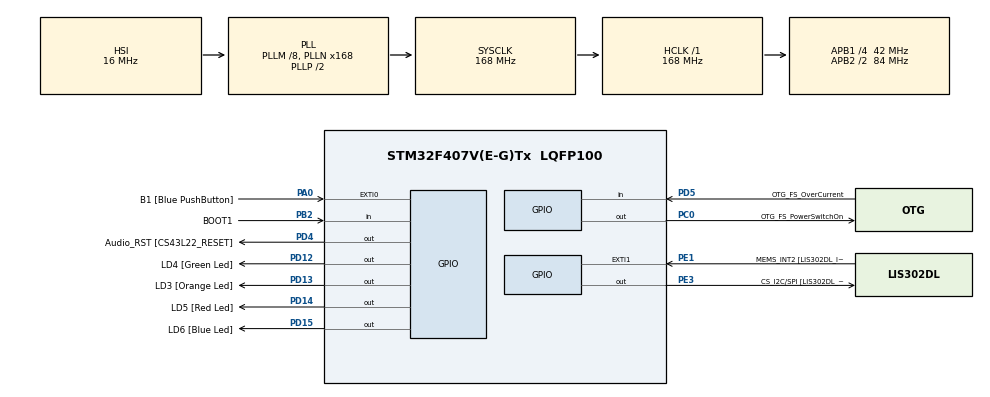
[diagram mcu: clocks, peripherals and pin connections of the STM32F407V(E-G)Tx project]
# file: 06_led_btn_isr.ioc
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Mcu.Family=STM32F4
Mcu.Name=STM32F407V(E-G)Tx
Mcu.Package=LQFP100
NVIC.EXTI0_IRQn=true\:6\:0\:true\:false\:true\:true\:true\:true
NVIC.PriorityGroup=NVIC_PRIORITYGROUP_4
NVIC.TIM6_DAC_IRQn=true\:0\:0\:false\:false\:true\:false\:true\:true
NVIC.TimeBase=TIM6_DAC_IRQn
NVIC.TimeBaseIP=TIM6
PA0-WKUP.GPIO_Label=B1 [Blue PushButton]
PA0-WKUP.GPIO_ModeDefaultEXTI=GPIO_MODE_IT_FALLING
PA0-WKUP.Signal=GPXTI0
PA10.GPIO_Label=OTG_FS_ID
PA10.GPIO_Mode=GPIO_MODE_AF_PP
PA10.GPIO_PuPd=GPIO_NOPULL
PA10.GPIO_Speed=GPIO_SPEED_FREQ_LOW
PA10.Signal=USB_OTG_FS_ID
PA11.GPIO_Label=OTG_FS_DM
PA11.GPIO_Mode=GPIO_MODE_AF_PP
PA11.GPIO_PuPd=GPIO_NOPULL
PA11.GPIO_Speed=GPIO_SPEED_FREQ_LOW
PA11.Signal=USB_OTG_FS_DM
PA12.GPIO_Label=OTG_FS_DP
PA12.GPIO_Mode=GPIO_MODE_AF_PP
PA12.GPIO_PuPd=GPIO_NOPULL
PA12.GPIO_Speed=GPIO_SPEED_FREQ_LOW
PA12.Signal=USB_OTG_FS_DP
PA13.GPIO_Label=SWDIO
PA13.Signal=SYS_JTMS-SWDIO
PA14.GPIO_Label=SWCLK
PA14.Signal=SYS_JTCK-SWCLK
PA4.GPIO_Label=I2S3_WS [CS43L22_LRCK]
PA4.GPIO_Mode=GPIO_MODE_AF_PP
PA4.GPIO_PuPd=GPIO_NOPULL
PA4.GPIO_Speed=GPIO_SPEED_FREQ_LOW
PA4.Signal=I2S3_WS
PA5.GPIO_Label=SPI1_SCK [LIS302DL_SCL/SPC]
PA5.GPIO_Mode=GPIO_MODE_AF_PP
PA5.GPIO_PuPd=GPIO_NOPULL
PA5.GPIO_Speed=GPIO_SPEED_FREQ_LOW
PA5.Signal=SPI1_SCK
PA6.GPIO_Label=SPI1_MISO [LIS302DL_SDO]
PA6.GPIO_Mode=GPIO_MODE_AF_PP
PA6.GPIO_PuPd=GPIO_NOPULL
PA6.GPIO_Speed=GPIO_SPEED_FREQ_LOW
PA6.Signal=SPI1_MISO
PA7.GPIO_Label=SPI1_MOSI [LIS302DL_SDA/SDI/SDO]
PA7.GPIO_Mode=GPIO_MODE_AF_PP
PA7.GPIO_PuPd=GPIO_NOPULL
PA7.GPIO_Speed=GPIO_SPEED_FREQ_LOW
PA7.Signal=SPI1_MOSI
PA9.GPIO_Label=VBUS_FS
PA9.GPIO_Mode=GPIO_MODE_INPUT
PA9.GPIO_PuPd=GPIO_NOPULL
PA9.Signal=USB_OTG_FS_VBUS
PB10.GPIO_Label=CLK_IN [MP45DT02_CLK]
PB10.GPIO_Mode=GPIO_MODE_AF_PP
PB10.GPIO_PuPd=GPIO_NOPULL
PB10.GPIO_Speed=GPIO_SPEED_FREQ_LOW
PB10.Signal=I2S2_CK
PB2.GPIO_Label=BOOT1
PB2.GPIO_Mode=GPIO_MODE_INPUT
PB2.GPIO_PuPd=GPIO_NOPULL
PB2.Signal=GPIO_Input
PB3.GPIO_Label=SWO
PB3.Signal=SYS_JTDO-SWO
PB6.GPIO_Label=Audio_SCL [CS43L22_SCL]
PB6.GPIO_Mode=GPIO_MODE_AF_OD
PB6.GPIO_PuPd=GPIO_NOPULL
PB6.GPIO_Speed=GPIO_SPEED_FREQ_LOW
PB6.Signal=I2C1_SCL
PB9.GPIO_Label=Audio_SDA [CS43L22_SDA]
PB9.GPIO_Mode=GPIO_MODE_AF_OD
PB9.GPIO_PuPd=GPIO_NOPULL
PB9.GPIO_Speed=GPIO_SPEED_FREQ_LOW
PB9.Signal=I2C1_SDA
PC0.GPIO_Label=OTG_FS_PowerSwitchOn
PC0.GPIO_PuPd=GPIO_NOPULL
PC0.GPIO_Speed=GPIO_SPEED_FREQ_LOW
PC0.PinState=GPIO_PIN_SET
PC0.Signal=GPIO_Output
PC10.GPIO_Label=I2S3_SCK [CS43L22_SCLK]
PC10.GPIO_Mode=GPIO_MODE_AF_PP
PC10.GPIO_PuPd=GPIO_NOPULL
PC10.GPIO_Speed=GPIO_SPEED_FREQ_LOW
PC10.Signal=I2S3_CK
PC12.GPIO_Label=I2S3_SD [CS43L22_SDIN]
PC12.GPIO_Mode=GPIO_MODE_AF_PP
PC12.GPIO_PuPd=GPIO_NOPULL
PC12.GPIO_Speed=GPIO_SPEED_FREQ_LOW
PC12.Signal=I2S3_SD
PC14-OSC32_IN.GPIO_Label=PC14-OSC32_IN
PC14-OSC32_IN.Signal=RCC_OSC32_IN
PC15-OSC32_OUT.GPIO_Label=PC15-OSC32_OUT
PC15-OSC32_OUT.Signal=RCC_OSC32_OUT
PC3.GPIO_Label=PDM_OUT [MP45DT02_DOUT]
PC3.GPIO_Mode=GPIO_MODE_AF_PP
PC3.GPIO_PuPd=GPIO_NOPULL
PC3.GPIO_Speed=GPIO_SPEED_FREQ_LOW
PC3.Signal=I2S2_SD
PC7.GPIO_Label=I2S3_MCK [CS43L22_MCLK]
PC7.GPIO_Mode=GPIO_MODE_AF_PP
PC7.GPIO_PuPd=GPIO_NOPULL
PC7.GPIO_Speed=GPIO_SPEED_FREQ_LOW
PC7.Signal=I2S3_MCK
PD12.GPIO_Label=LD4 [Green Led]
PD12.GPIO_PuPd=GPIO_NOPULL
PD12.GPIO_Speed=GPIO_SPEED_FREQ_LOW
PD12.Signal=GPIO_Output
PD13.GPIO_Label=LD3 [Orange Led]
PD13.GPIO_PuPd=GPIO_NOPULL
PD13.GPIO_Speed=GPIO_SPEED_FREQ_LOW
PD13.Signal=GPIO_Output
PD14.GPIO_Label=LD5 [Red Led]
PD14.GPIO_PuPd=GPIO_NOPULL
PD14.GPIO_Speed=GPIO_SPEED_FREQ_LOW
PD14.Signal=GPIO_Output
PD15.GPIO_Label=LD6 [Blue Led]
PD15.GPIO_PuPd=GPIO_NOPULL
PD15.GPIO_Speed=GPIO_SPEED_FREQ_LOW
PD15.Signal=GPIO_Output
PD4.GPIO_Label=Audio_RST [CS43L22_RESET]
PD4.GPIO_PuPd=GPIO_NOPULL
PD4.GPIO_Speed=GPIO_SPEED_FREQ_LOW
PD4.Signal=GPIO_Output
PD5.GPIO_Label=OTG_FS_OverCurrent
PD5.GPIO_Mode=GPIO_MODE_INPUT
PD5.GPIO_PuPd=GPIO_NOPULL
PD5.Signal=GPIO_Input
PE1.GPIO_Label=MEMS_INT2 [LIS302DL_INT2]
PE1.GPIO_ModeDefaultEXTI=GPIO_MODE_EVT_RISING
PE1.GPIO_PuPd=GPIO_NOPULL
PE1.Signal=GPXTI1
PE3.GPIO_Label=CS_I2C/SPI [LIS302DL_CS_I2C/SPI]
PE3.GPIO_PuPd=GPIO_NOPULL
PE3.GPIO_Speed=GPIO_SPEED_FREQ_LOW
PE3.Signal=GPIO_Output
PH0-OSC_IN.GPIO_Label=PH0-OSC_IN
PH0-OSC_IN.Signal=RCC_OSC_IN
PH1-OSC_OUT.GPIO_Label=PH1-OSC_OUT
PH1-OSC_OUT.Signal=RCC_OSC_OUT
ProjectManager.HeapSize=0x200
ProjectManager.StackSize=0x400
ProjectManager.TargetToolchain=STM32CubeIDE
RCC.48MHZClocksFreq_Value=48000000
RCC.AHBFreq_Value=168000000
RCC.APB1CLKDivider=RCC_HCLK_DIV4
RCC.APB1Freq_Value=42000000
RCC.APB1TimFreq_Value=84000000
RCC.APB2CLKDivider=RCC_HCLK_DIV2
RCC.APB2Freq_Value=84000000
RCC.APB2TimFreq_Value=168000000
RCC.CortexFreq_Value=168000000
RCC.HCLKFreq_Value=168000000
RCC.HSE_VALUE=8000000
RCC.HSI_VALUE=16000000
RCC.LSE_VALUE=32768
RCC.PLLM=8
RCC.PLLN=168
RCC.PLLQ=7
RCC.SYSCLKFreq_VALUE=168000000
RCC.SYSCLKSource=RCC_SYSCLKSOURCE_PLLCLK
RCC.VCOOutputFreq_Value=336000000
VP_SYS_VS_tim6.Mode=TIM6
board=STM32F407G-DISC1

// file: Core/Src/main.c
/* USER CODE BEGIN Header */
/**
  ******************************************************************************
  * @file           : main.c
  * @brief          : Main program body
  ******************************************************************************
  * @attention
  *
  * Copyright (c) 2024 STMicroelectronics.
  * All rights reserved.
  *
  * This software is licensed under terms that can be found in the LICENSE file
  * in the root directory of this software component.
  * If no LICENSE file comes with this software, it is provided AS-IS.
  *
  ******************************************************************************
  */
/* USER CODE END Header */
#include "main.h"

/* USER CODE BEGIN Includes */
#include "FreeRTOS.h"
#include "task.h"
/* USER CODE END Includes */

/* USER CODE BEGIN PD */
#define DWT_CTRL             (*(volatile uint32_t*)0xE0001000)
/* USER CODE END PD */

void SystemClock_Config(void);
static void MX_GPIO_Init(void);

/* USER CODE BEGIN PFP */

static void led_green_handler(void* parameters);
static void led_orange_handler(void* parameters);
static void led_red_handler(void* parameters);

extern void SEGGER_UART_init(uint32_t);

// needs task handles to delete a task
TaskHandle_t ledg_task_handle;
TaskHandle_t ledo_task_handle;
TaskHandle_t ledr_task_handle;
TaskHandle_t button_task_handle;

TaskHandle_t volatile next_task_handle = NULL;
/* USER CODE END PFP */

int main(void)
{
  /* USER CODE BEGIN 1 */
  BaseType_t status;
  /* USER CODE END 1 */

  /* MCU Configuration--------------------------------------------------------*/

  /* Reset of all peripherals, Initializes the Flash interface and the Systick. */
  HAL_Init();

  /* Configure the system clock */
  SystemClock_Config();

  /* Initialize all configured peripherals */
  MX_GPIO_Init();
  /* USER CODE BEGIN 2 */

  SEGGER_UART_init(115200);

  // Enable the CYCCNT counter register - For SystemView timestamp
  // Cortex-M4 Technical Reference Manual page: 91
  DWT_CTRL |= (1 << 0);

  SEGGER_SYSVIEW_Conf();

  status = xTaskCreate(led_green_handler, "LED green task", 200, NULL, 3, &ledg_task_handle);
  configASSERT(status==pdPASS);

  next_task_handle = ledg_task_handle;

  status = xTaskCreate(led_orange_handler, "LED orange task", 200, NULL, 2, &ledo_task_handle);
  configASSERT(status==pdPASS);

  status = xTaskCreate(led_red_handler, "LED red task", 200, NULL, 1, &ledr_task_handle);
  configASSERT(status==pdPASS);

  vTaskStartScheduler();

  /* USER CODE END 2 */

  /* Infinite loop */
  while (1)
  {

  }
}

void SystemClock_Config(void)
{
  RCC_OscInitTypeDef RCC_OscInitStruct = {0};
  RCC_ClkInitTypeDef RCC_ClkInitStruct = {0};

  /** Configure the main internal regulator output voltage
  */
  __HAL_RCC_PWR_CLK_ENABLE();
  __HAL_PWR_VOLTAGESCALING_CONFIG(PWR_REGULATOR_VOLTAGE_SCALE1);

  /** Initializes the RCC Oscillators according to the specified parameters
  * in the RCC_OscInitTypeDef structure.
  */
  RCC_OscInitStruct.OscillatorType = RCC_OSCILLATORTYPE_HSI;
  RCC_OscInitStruct.HSIState = RCC_HSI_ON;
  RCC_OscInitStruct.HSICalibrationValue = RCC_HSICALIBRATION_DEFAULT;
  RCC_OscInitStruct.PLL.PLLState = RCC_PLL_ON;
  RCC_OscInitStruct.PLL.PLLSource = RCC_PLLSOURCE_HSI;
  RCC_OscInitStruct.PLL.PLLM = 8;
  RCC_OscInitStruct.PLL.PLLN = 168;
  RCC_OscInitStruct.PLL.PLLP = RCC_PLLP_DIV2;
  RCC_OscInitStruct.PLL.PLLQ = 7;
  if (HAL_RCC_OscConfig(&RCC_OscInitStruct) != HAL_OK)
  {
    Error_Handler();
  }

  /** Initializes the CPU, AHB and APB buses clocks
  */
  RCC_ClkInitStruct.ClockType = RCC_CLOCKTYPE_HCLK|RCC_CLOCKTYPE_SYSCLK
                              |RCC_CLOCKTYPE_PCLK1|RCC_CLOCKTYPE_PCLK2;
  RCC_ClkInitStruct.SYSCLKSource = RCC_SYSCLKSOURCE_PLLCLK;
  RCC_ClkInitStruct.AHBCLKDivider = RCC_SYSCLK_DIV1;
  RCC_ClkInitStruct.APB1CLKDivider = RCC_HCLK_DIV4;
  RCC_ClkInitStruct.APB2CLKDivider = RCC_HCLK_DIV2;

  if (HAL_RCC_ClockConfig(&RCC_ClkInitStruct, FLASH_LATENCY_5) != HAL_OK)
  {
    Error_Handler();
  }
}

static void MX_GPIO_Init(void)
{
  GPIO_InitTypeDef GPIO_InitStruct = {0};

  /* GPIO Ports Clock Enable */
  __HAL_RCC_GPIOE_CLK_ENABLE();
  __HAL_RCC_GPIOC_CLK_ENABLE();
  __HAL_RCC_GPIOH_CLK_ENABLE();
  __HAL_RCC_GPIOA_CLK_ENABLE();
  __HAL_RCC_GPIOB_CLK_ENABLE();
  __HAL_RCC_GPIOD_CLK_ENABLE();

  /*Configure GPIO pin Output Level */
  HAL_GPIO_WritePin(CS_I2C_SPI_GPIO_Port, CS_I2C_SPI_Pin, GPIO_PIN_RESET);

  /*Configure GPIO pin Output Level */
  HAL_GPIO_WritePin(OTG_FS_PowerSwitchOn_GPIO_Port, OTG_FS_PowerSwitchOn_Pin, GPIO_PIN_SET);

  /*Configure GPIO pin Output Level */
  HAL_GPIO_WritePin(GPIOD, LD4_Pin|LD3_Pin|LD5_Pin|LD6_Pin
                          |Audio_RST_Pin, GPIO_PIN_RESET);

  /*Configure GPIO pin : CS_I2C_SPI_Pin */
  GPIO_InitStruct.Pin = CS_I2C_SPI_Pin;
  GPIO_InitStruct.Mode = GPIO_MODE_OUTPUT_PP;
  GPIO_InitStruct.Pull = GPIO_NOPULL;
  GPIO_InitStruct.Speed = GPIO_SPEED_FREQ_LOW;
  HAL_GPIO_Init(CS_I2C_SPI_GPIO_Port, &GPIO_InitStruct);

  /*Configure GPIO pin : OTG_FS_PowerSwitchOn_Pin */
  GPIO_InitStruct.Pin = OTG_FS_PowerSwitchOn_Pin;
  GPIO_InitStruct.Mode = GPIO_MODE_OUTPUT_PP;
  GPIO_InitStruct.Pull = GPIO_NOPULL;
  GPIO_InitStruct.Speed = GPIO_SPEED_FREQ_LOW;
  HAL_GPIO_Init(OTG_FS_PowerSwitchOn_GPIO_Port, &GPIO_InitStruct);

  /*Configure GPIO pin : PDM_OUT_Pin */
  GPIO_InitStruct.Pin = PDM_OUT_Pin;
  GPIO_InitStruct.Mode = GPIO_MODE_AF_PP;
  GPIO_InitStruct.Pull = GPIO_NOPULL;
  GPIO_InitStruct.Speed = GPIO_SPEED_FREQ_LOW;
  GPIO_InitStruct.Alternate = GPIO_AF5_SPI2;
  HAL_GPIO_Init(PDM_OUT_GPIO_Port, &GPIO_InitStruct);

  /*Configure GPIO pin : B1_Pin */
  GPIO_InitStruct.Pin = B1_Pin;
  GPIO_InitStruct.Mode = GPIO_MODE_IT_FALLING;
  GPIO_InitStruct.Pull = GPIO_NOPULL;
  HAL_GPIO_Init(B1_GPIO_Port, &GPIO_InitStruct);

  /*Configure GPIO pin : I2S3_WS_Pin */
  GPIO_InitStruct.Pin = I2S3_WS_Pin;
  GPIO_InitStruct.Mode = GPIO_MODE_AF_PP;
  GPIO_InitStruct.Pull = GPIO_NOPULL;
  GPIO_InitStruct.Speed = GPIO_SPEED_FREQ_LOW;
  GPIO_InitStruct.Alternate = GPIO_AF6_SPI3;
  HAL_GPIO_Init(I2S3_WS_GPIO_Port, &GPIO_InitStruct);

  /*Configure GPIO pins : SPI1_SCK_Pin SPI1_MISO_Pin SPI1_MOSI_Pin */
  GPIO_InitStruct.Pin = SPI1_SCK_Pin|SPI1_MISO_Pin|SPI1_MOSI_Pin;
  GPIO_InitStruct.Mode = GPIO_MODE_AF_PP;
  GPIO_InitStruct.Pull = GPIO_NOPULL;
  GPIO_InitStruct.Speed = GPIO_SPEED_FREQ_LOW;
  GPIO_InitStruct.Alternate = GPIO_AF5_SPI1;
  HAL_GPIO_Init(GPIOA, &GPIO_InitStruct);

  /*Configure GPIO pin : BOOT1_Pin */
  GPIO_InitStruct.Pin = BOOT1_Pin;
  GPIO_InitStruct.Mode = GPIO_MODE_INPUT;
  GPIO_InitStruct.Pull = GPIO_NOPULL;
  HAL_GPIO_Init(BOOT1_GPIO_Port, &GPIO_InitStruct);

  /*Configure GPIO pin : CLK_IN_Pin */
  GPIO_InitStruct.Pin = CLK_IN_Pin;
  GPIO_InitStruct.Mode = GPIO_MODE_AF_PP;
  GPIO_InitStruct.Pull = GPIO_NOPULL;
  GPIO_InitStruct.Speed = GPIO_SPEED_FREQ_LOW;
  GPIO_InitStruct.Alternate = GPIO_AF5_SPI2;
  HAL_GPIO_Init(CLK_IN_GPIO_Port, &GPIO_InitStruct);

  /*Configure GPIO pins : LD4_Pin LD3_Pin LD5_Pin LD6_Pin
                           Audio_RST_Pin */
  GPIO_InitStruct.Pin = LD4_Pin|LD3_Pin|LD5_Pin|LD6_Pin
                          |Audio_RST_Pin;
  GPIO_InitStruct.Mode = GPIO_MODE_OUTPUT_PP;
  GPIO_InitStruct.Pull = GPIO_NOPULL;
  GPIO_InitStruct.Speed = GPIO_SPEED_FREQ_LOW;
  HAL_GPIO_Init(GPIOD, &GPIO_InitStruct);

  /*Configure GPIO pins : I2S3_MCK_Pin I2S3_SCK_Pin I2S3_SD_Pin */
  GPIO_InitStruct.Pin = I2S3_MCK_Pin|I2S3_SCK_Pin|I2S3_SD_Pin;
  GPIO_InitStruct.Mode = GPIO_MODE_AF_PP;
  GPIO_InitStruct.Pull = GPIO_NOPULL;
  GPIO_InitStruct.Speed = GPIO_SPEED_FREQ_LOW;
  GPIO_InitStruct.Alternate = GPIO_AF6_SPI3;
  HAL_GPIO_Init(GPIOC, &GPIO_InitStruct);

  /*Configure GPIO pin : VBUS_FS_Pin */
  GPIO_InitStruct.Pin = VBUS_FS_Pin;
  GPIO_InitStruct.Mode = GPIO_MODE_INPUT;
  GPIO_InitStruct.Pull = GPIO_NOPULL;
  HAL_GPIO_Init(VBUS_FS_GPIO_Port, &GPIO_InitStruct);

  /*Configure GPIO pins : OTG_FS_ID_Pin OTG_FS_DM_Pin OTG_FS_DP_Pin */
  GPIO_InitStruct.Pin = OTG_FS_ID_Pin|OTG_FS_DM_Pin|OTG_FS_DP_Pin;
  GPIO_InitStruct.Mode = GPIO_MODE_AF_PP;
  GPIO_InitStruct.Pull = GPIO_NOPULL;
  GPIO_InitStruct.Speed = GPIO_SPEED_FREQ_LOW;
  GPIO_InitStruct.Alternate = GPIO_AF10_OTG_FS;
  HAL_GPIO_Init(GPIOA, &GPIO_InitStruct);

  /*Configure GPIO pin : OTG_FS_OverCurrent_Pin */
  GPIO_InitStruct.Pin = OTG_FS_OverCurrent_Pin;
  GPIO_InitStruct.Mode = GPIO_MODE_INPUT;
  GPIO_InitStruct.Pull = GPIO_NOPULL;
  HAL_GPIO_Init(OTG_FS_OverCurrent_GPIO_Port, &GPIO_InitStruct);

  /*Configure GPIO pins : Audio_SCL_Pin Audio_SDA_Pin */
  GPIO_InitStruct.Pin = Audio_SCL_Pin|Audio_SDA_Pin;
  GPIO_InitStruct.Mode = GPIO_MODE_AF_OD;
  GPIO_InitStruct.Pull = GPIO_NOPULL;
  GPIO_InitStruct.Speed = GPIO_SPEED_FREQ_LOW;
  GPIO_InitStruct.Alternate = GPIO_AF4_I2C1;
  HAL_GPIO_Init(GPIOB, &GPIO_InitStruct);

  /*Configure GPIO pin : MEMS_INT2_Pin */
  GPIO_InitStruct.Pin = MEMS_INT2_Pin;
  GPIO_InitStruct.Mode = GPIO_MODE_EVT_RISING;
  GPIO_InitStruct.Pull = GPIO_NOPULL;
  HAL_GPIO_Init(MEMS_INT2_GPIO_Port, &GPIO_InitStruct);

  /* EXTI interrupt init*/
  HAL_NVIC_SetPriority(EXTI0_IRQn, 6, 0);
  HAL_NVIC_EnableIRQ(EXTI0_IRQn);

}

/* USER CODE BEGIN 4 */

void button_interrupt_handler(void)
{
  BaseType_t pxHigherPriorityTaskWoken = pdFALSE;

  // help SEGGER SystemView to detect the Entry to an interrupt
  //   otherwise SEGGER SystemView will have no idea that there
  //   was an execution of interrupt handler
  traceISR_ENTER();

//  xTaskNotifyFromISR(next_task_handle, 0, eNoAction, NULL);
  xTaskNotifyFromISR(next_task_handle, 0, eNoAction, &pxHigherPriorityTaskWoken);

  // once the ISR exits, the below macro makes higher priority
  //   task which got unblocked to resume on the CPU
  portYIELD_FROM_ISR(pxHigherPriorityTaskWoken);
  traceISR_EXIT();
}

static void led_green_handler(void* parameters)
{
  BaseType_t status;
  while (1)
  {
	SEGGER_SYSVIEW_PrintfTarget("Toggling green LED");
	HAL_GPIO_TogglePin(GPIOD, LED_GREEN_PIN);
	status = xTaskNotifyWait(0, 0, NULL, pdMS_TO_TICKS(1000)); // 1 sec

	if (status == pdTRUE)
	{
	  // cannot use `vTaskSuspendAll()` here now as `next_task_handle` is shared
	  //   between Interrupt handler `button_interrupt_handler(void)`
	  //
	  // whenever you have a critical section (i.e. where global variable is accessed
	  //   which is shared between multiple tasks and interrupt handler)
	  //   There you can disable the interrupts of the system, okay for short duration
	  //   but not recommended to disable interrupts for longer duration, In that case
	  //   you can switch to mutex or semaphores for synchronisation between different
	  //   tasks and interrupt handler
	  //   it also disable the PendSV (prority 0xf0), only interrupts with less than 0x50 (high
	  //   priority urgeny interrupts) are allowed but not greater than 0x50 (low urgency low priority)
	  portENTER_CRITICAL();
	  next_task_handle = ledo_task_handle;
	  HAL_GPIO_WritePin(GPIOD, LED_GREEN_PIN, GPIO_PIN_SET);
	  SEGGER_SYSVIEW_PrintfTarget("Delete green LED task");
	  portEXIT_CRITICAL();
	  vTaskDelete(NULL);
	}
  }
}

static void led_orange_handler(void* parameters)
{
  BaseType_t status;
  while (1)
  {
	SEGGER_SYSVIEW_PrintfTarget("Toggling orange LED");
	HAL_GPIO_TogglePin(GPIOD, LED_ORANGE_PIN);
	status = xTaskNotifyWait(0, 0, NULL, pdMS_TO_TICKS(800)); // 800ms

	if (status == pdTRUE)
	{
	  portENTER_CRITICAL();
	  next_task_handle = ledr_task_handle;
	  HAL_GPIO_WritePin(GPIOD, LED_ORANGE_PIN, GPIO_PIN_SET);
	  SEGGER_SYSVIEW_PrintfTarget("Delete orange LED task");
	  portEXIT_CRITICAL();
	  vTaskDelete(NULL);
	}
  }
}

static void led_red_handler(void* parameters)
{
  BaseType_t status;
  while (1)
  {
	SEGGER_SYSVIEW_PrintfTarget("Toggling red LED");
	HAL_GPIO_TogglePin(GPIOD, LED_RED_PIN);
	status = xTaskNotifyWait(0, 0, NULL, pdMS_TO_TICKS(400)); // 400ms

	if (status == pdTRUE)
	{
	  portENTER_CRITICAL();
	  next_task_handle = NULL;
	  HAL_GPIO_WritePin(GPIOD, LED_RED_PIN, GPIO_PIN_SET);
	  SEGGER_SYSVIEW_PrintfTarget("Delete red LED task");
	  portEXIT_CRITICAL();
	  vTaskDelete(NULL);
	}
  }
}

/* USER CODE END 4 */

void HAL_TIM_PeriodElapsedCallback(TIM_HandleTypeDef *htim)
{
  if (htim->Instance == TIM6) {
    HAL_IncTick();
  }
}

void Error_Handler(void)
{
  __disable_irq();
  while (1)
  {
  }
}
